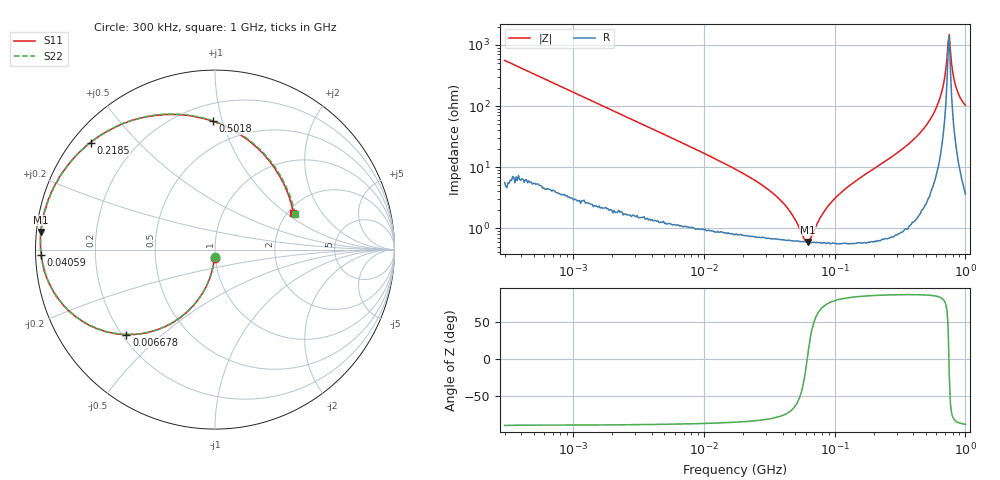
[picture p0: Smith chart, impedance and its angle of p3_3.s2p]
#  HZ  S  RI  R  50
! Rohde & Schwarz ZVA/B
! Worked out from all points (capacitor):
!   401 points, 300 kHz to 1 GHz, reference 50 ohm
!   read as one part in shunt: C = 948 pF near 312.4 kHz
!   lowest |Z| = 592 mohm at 62.15 MHz (marker M1)
!   series resonance near 61.67 MHz, so ESL is about 7 nH
!   S11 on the Smith chart (normalised r, x): 300 kHz: 0.99, -0.09; 6.678 MHz: 0.22, -0.39; 40.59 MHz: 0.02, -0.01; 218.5 MHz: 0.05, +0.37; 501.8 MHz: 0.32, +0.93; 1 GHz: 2.14, +1.14
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300000  -0.00207 -0.0442  0.9972 -0.0451  0.9975 -0.0453  -0.00238 -0.0435
1167356  -0.0319 -0.1658  0.9676 -0.1679  0.9682 -0.1678  -0.0324 -0.1655
2472121  -0.1232 -0.3142  0.877 -0.3177  0.8776 -0.3196  -0.1226 -0.3141
4542403  -0.3143 -0.4436  0.6854 -0.4525  0.6852 -0.4502  -0.314 -0.4431
6677630  -0.4935 -0.4734  0.5066 -0.4846  0.5063 -0.4858  -0.494 -0.4726
1.732051e7  -0.8649 -0.2853  0.1337 -0.3139  0.1345 -0.3132  -0.8643 -0.2848
2.87568e7  -0.9476 -0.1319  0.052 -0.1791  0.0516 -0.1793  -0.9466 -0.1286
4.05941e7  -0.9691 -0.0286  0.0278 -0.0959  0.0278 -0.0956  -0.9682 -0.0268
4.872229e7  -0.9724 0.0234  0.0226 -0.0539  0.023 -0.0544  -0.9719 0.0296
5.847799e7  -0.9722 0.0799  0.0223 -0.0138  0.0225 -0.0141  -0.971 0.085
6.214612e7  -0.9704 0.0987  0.023 -0.000627  0.0228 -0.000436  -0.9695 0.1038
6.739735e7  -0.9682 0.125  0.0251 0.0171  0.0255 0.0167  -0.9651 0.1319
8.089238e7  -0.9566 0.1875  0.0341 0.0571  0.034 0.0568  -0.9529 0.1931
9.907853e7  -0.9351 0.2598  0.051 0.1017  0.051 0.1014  -0.9317 0.2659
1.42728e8  -0.8646 0.4087  0.1093 0.1819  0.1093 0.1824  -0.858 0.4168
2.185044e8  -0.6935 0.5956  0.2452 0.2526  0.2452 0.2529  -0.6833 0.6054
2.622557e8  -0.5816 0.6683  0.3305 0.259  0.3313 0.2591  -0.5683 0.6758
3.702093e8  -0.3011 0.7494  0.5265 0.1858  0.5273 0.1859  -0.2849 0.7543
5.018285e8  -0.00937 0.7145  0.6773 -0.0188  0.6776 -0.018  0.00784 0.7119
6.146491e8  0.1747 0.6174  0.7094 -0.2311  0.7091 -0.231  0.189 0.6116
7.22911e8  0.2952 0.5027  0.6643 -0.4274  0.6651 -0.4264  0.3072 0.4956
1e9  0.4369 0.2048  0.334 -0.7811  0.3346 -0.782  0.4454 0.1968
